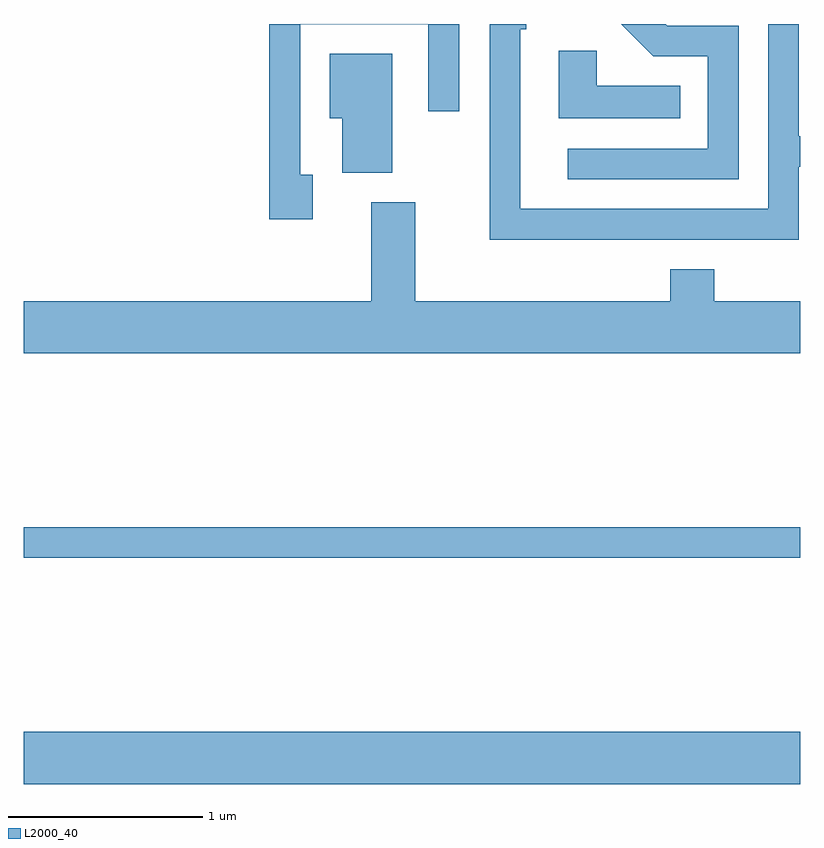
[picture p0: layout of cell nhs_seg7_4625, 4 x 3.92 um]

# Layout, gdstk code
import gdstk
lib = gdstk.Library(unit=1e-6, precision=1e-09)
def R(c, l, rs):  # rectangles x0, y0, x1, y1
    for r in rs: c.add(gdstk.rectangle(r[:2], r[2:], *l))
def P(c, l, *ps):  # polygons
    for p in ps: c.add(gdstk.Polygon(p, *l))
L2000_40 = (2000, 40)

nhs_seg7_4625 = lib.new_cell('nhs_seg7_4625')
R(nhs_seg7_4625, L2000_40, [(327.611,1694.336,331.611,1694.604), (327.611,1695.501,331.611,1695.659)])
P(nhs_seg7_4625, L2000_40, [(331.604,1697.516),(331.611,1697.516),(331.611,1697.674),(331.604,1697.674),(331.604,1698.252),(331.446,1698.252),(331.446,1697.299),(330.169,1697.299),(330.169,1698.226),(330.199,1698.226),(330.199,1698.252),(330.011,1698.252),(330.011,1697.141),(331.604,1697.141)],
  [(331.294,1698.244),(330.927,1698.244),(330.919,1698.252),(330.688,1698.252),(330.854,1698.086),(331.136,1698.086),(331.136,1697.609),(330.413,1697.609),(330.413,1697.451),(331.294,1697.451)],
  [(329.099,1697.474),(329.034,1697.474),(329.034,1698.251),(329.696,1698.251),(329.696,1697.803),(329.854,1697.803),(329.854,1698.252),(328.876,1698.252),(328.876,1697.246),(329.099,1697.246)],
  [(330.993,1697.934),(330.564,1697.934),(330.564,1698.114),(330.366,1698.114),(330.366,1697.766),(330.993,1697.766)],
  [(329.509,1698.099),(329.186,1698.099),(329.186,1697.766),(329.251,1697.766),(329.251,1697.486),(329.509,1697.486)],
  [(331.611,1696.824),(331.169,1696.824),(331.169,1696.989),(330.941,1696.989),(330.941,1696.824),(329.629,1696.824),(329.629,1697.334),(329.401,1697.334),(329.401,1696.824),(327.611,1696.824),(327.611,1696.556),(331.611,1696.556)])

lib.write_gds('nhs_seg7_4625.gds')
